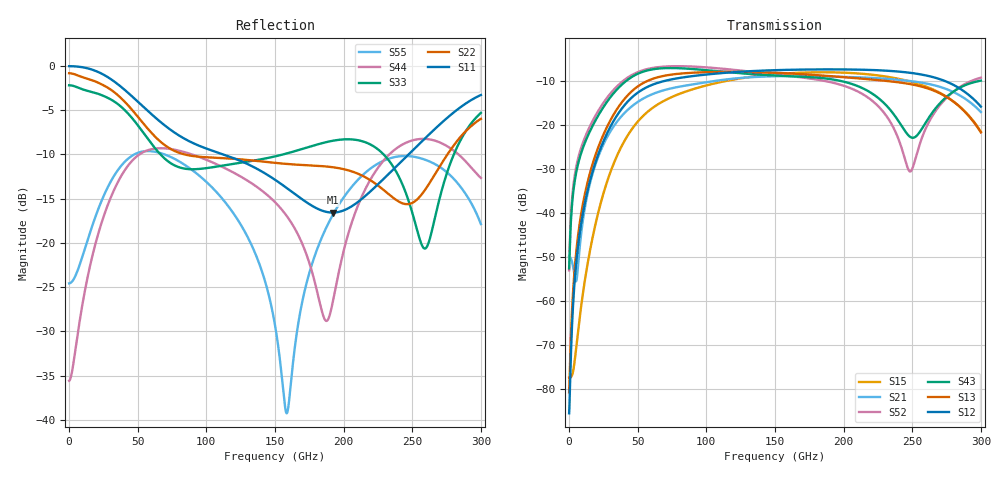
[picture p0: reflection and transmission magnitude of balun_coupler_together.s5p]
! Created with skrf (http://scikit-rf.org).
# Hz S RI R 50.0
!freq ReS11 ImS11 ReS12 ImS12 ReS13 ImS13
! ReS14 ImS14 ReS15 ImS15
! ReS21 ImS21 ReS22 ImS22 ReS23 ImS23
! ReS24 ImS24 ReS25 ImS25
! ReS31 ImS31 ReS32 ImS32 ReS33 ImS33
! ReS34 ImS34 ReS35 ImS35
! ReS41 ImS41 ReS42 ImS42 ReS43 ImS43
! ReS44 ImS44 ReS45 ImS45
! ReS51 ImS51 ReS52 ImS52 ReS53 ImS53
! ReS54 ImS54 ReS55 ImS55
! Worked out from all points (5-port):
!   3000 points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, 100 MHz to 300 GHz, reference 50 ohm
!   strongest paths, dB at 100 MHz, 75.1 GHz, 150.1 GHz, 225.1 GHz, 300 GHz:
!     S12: -85.6, -9.7, -7.7, -7.7, -15.9
!     S13: -80.8, -8.6, -8.2, -9.9, -21.8
!     S43: -52.7, -7.2, -8.9, -13.9, -10.0
!     S52: -53.1, -6.8, -8.6, -15.8, -9.3
!     S21: -49.9, -11.7, -9.0, -9.5, -17.1
!     S15: -77.5, -13.7, -8.6, -8.8, -21.6
!   lowest |S11| = -16.6 dB at 192.1 GHz (marker M1), VSWR 1.35, Z = 43.7 - j12.6 ohm
!   |S11| at or under -10 dB: 112.3 GHz to 247.3 GHz (135 GHz wide, 75.1 % of centre)
